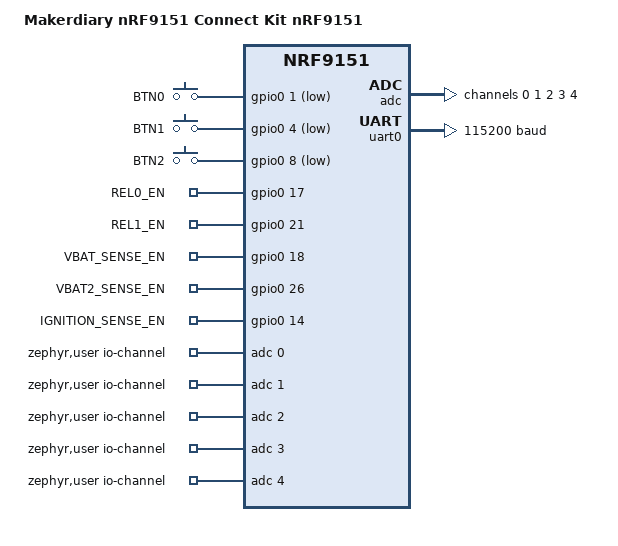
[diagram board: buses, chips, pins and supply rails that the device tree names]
/*
 * Copyright (c) 2016-2025 Makerdiary <https://makerdiary.com>
 *
 * SPDX-License-Identifier: Apache-2.0
 */
#include "nrf9151_connectkit_nrf9151_common-pinctrl.dtsi"
#include <zephyr/dt-bindings/input/input-event-codes.h>
#include <zephyr/dt-bindings/adc/adc.h>
#include <zephyr/dt-bindings/adc/nrf-adc.h>

/ {
	model = "Makerdiary nRF9151 Connect Kit nRF9151";
	compatible = "makerdiary,nrf9151-connectkit-nrf9151";

	chosen {
		zephyr,console = &uart0;
		zephyr,shell-uart = &uart0;
		zephyr,uart-mcumgr = &uart0;
	};

	buttons {
		compatible = "gpio-keys";
		button0: button_0 {
			gpios = <&gpio0 1 (GPIO_PULL_UP | GPIO_ACTIVE_LOW)>;
			label = "BTN0";
			zephyr,code = <INPUT_KEY_0>;
		};
		button1: button_1 {
			gpios = <&gpio0 4 (GPIO_PULL_UP | GPIO_ACTIVE_LOW)>;
			label = "BTN1";
			zephyr,code = <INPUT_KEY_1>;
		};
		button2: button_2 {
			gpios = <&gpio0 8 (GPIO_PULL_UP | GPIO_ACTIVE_LOW)>;
			label = "BTN2";
			zephyr,code = <INPUT_KEY_2>;
		};
	};

	relays {
		compatible = "gpio-leds";
		relay0: relay_0 {
			gpios = <&gpio0 17 GPIO_ACTIVE_HIGH>;
			label = "REL0_EN";
		};
		relay1: relay_1 {
			gpios = <&gpio0 21 GPIO_ACTIVE_HIGH>;
			label = "REL1_EN";
		};
	};

	sense_enables {
		compatible = "gpio-leds";
		vbat_en: vbat_en {
			gpios = <&gpio0 18 GPIO_ACTIVE_HIGH>;
			label = "VBAT_SENSE_EN";
		};
		vbat2_en: vbat2_en {
			gpios = <&gpio0 26 GPIO_ACTIVE_HIGH>;
			label = "VBAT2_SENSE_EN";
		};
		ignition_en: ignition_en {
			gpios = <&gpio0 14 GPIO_ACTIVE_HIGH>;
			label = "IGNITION_SENSE_EN";
		};
	};

	zephyr,user {
		/* ADC channels: 0=REL0_SENSE, 1=REL1_SENSE, 2=VBAT_SENSE, 3=VBAT2_SENSE, 4=IGNITION_SENSE.
		 * IGNITION_SENSE (P0.15/AIN2) doubles as the button4 input, read as an
		 * analog threshold since the signal only reaches ~1 V. */
		io-channels = <&adc 0>, <&adc 1>, <&adc 2>, <&adc 3>, <&adc 4>;
	};

	aliases {
		sw0 = &button0;
		sw1 = &button1;
		sw2 = &button2;
		mcuboot-button0 = &button0;
		watchdog0 = &wdt0;
		relay0 = &relay0;
		relay1 = &relay1;
	};
};

&adc {
	status = "okay";
	#address-cells = <1>;
	#size-cells = <0>;

	/* REL0_SENSE: P0.16 = AIN3 */
	channel@0 {
		reg = <0>;
		zephyr,gain = "ADC_GAIN_1_6";
		zephyr,reference = "ADC_REF_INTERNAL";
		zephyr,acquisition-time = <ADC_ACQ_TIME(ADC_ACQ_TIME_MICROSECONDS, 40)>;
		zephyr,acquisition-time = <ADC_ACQ_TIME_DEFAULT>;
		zephyr,input-positive = <NRF_SAADC_AIN3>;
		zephyr,resolution = <12>;
		zephyr,oversampling = <8>;
	};

	/* REL1_SENSE: P0.20 = AIN7 */
	channel@1 {
		reg = <1>;
		zephyr,gain = "ADC_GAIN_1_6";
		zephyr,reference = "ADC_REF_INTERNAL";
		zephyr,acquisition-time = <ADC_ACQ_TIME(ADC_ACQ_TIME_MICROSECONDS, 40)>;
		zephyr,acquisition-time = <ADC_ACQ_TIME_DEFAULT>;
		zephyr,input-positive = <NRF_SAADC_AIN7>;
		zephyr,resolution = <12>;
		zephyr,oversampling = <8>;
	};

	/* VBAT_SENSE: P0.19 = AIN6 */
	channel@2 {
		reg = <2>;
		zephyr,gain = "ADC_GAIN_1_6";
		zephyr,reference = "ADC_REF_INTERNAL";
		zephyr,acquisition-time = <ADC_ACQ_TIME(ADC_ACQ_TIME_MICROSECONDS, 40)>;
		zephyr,input-positive = <NRF_SAADC_AIN6>;
		zephyr,resolution = <12>;
		zephyr,oversampling = <8>;
	};

	/* VBAT2_SENSE: P0.13 = AIN0 */
	channel@3 {
		reg = <3>;
		zephyr,gain = "ADC_GAIN_1_6";
		zephyr,reference = "ADC_REF_INTERNAL";
		zephyr,acquisition-time = <ADC_ACQ_TIME(ADC_ACQ_TIME_MICROSECONDS, 40)>;
		zephyr,input-positive = <NRF_SAADC_AIN0>;
		zephyr,resolution = <12>;
		zephyr,oversampling = <8>;
	};

	/* IGNITION_SENSE: P0.15 = AIN2 */
	channel@4 {
		reg = <4>;
		zephyr,gain = "ADC_GAIN_1_6";
		zephyr,reference = "ADC_REF_INTERNAL";
		zephyr,acquisition-time = <ADC_ACQ_TIME_DEFAULT>;
		zephyr,input-positive = <NRF_SAADC_AIN2>;
		zephyr,resolution = <12>;
	};
};

&gpiote {
	status = "okay";
};

&gpio0 {
	status = "okay";
};

&uart0 {
	status = "okay";
	current-speed = <115200>;
	pinctrl-0 = <&uart0_default>;
	pinctrl-1 = <&uart0_sleep>;
	pinctrl-names = "default", "sleep";
};

&flash0 {
	partitions {
		compatible = "fixed-partitions";
		#address-cells = <1>;
		#size-cells = <1>;

		boot_partition: partition@0 {
			label = "mcuboot";
			reg = <0x00000000 0x10000>;
		};
		slot0_partition: partition@10000 {
			label = "image-0";
		};
		slot0_ns_partition: partition@50000 {
			label = "image-0-nonsecure";
		};
		slot1_partition: partition@85000 {
			label = "image-1";
		};
		slot1_ns_partition: partition@c5000 {
			label = "image-1-nonsecure";
		};
		storage_partition: partition@fa000 {
			label = "storage";
			reg = <0x000fa000 0x00006000>;
		};
	};
};

/ {

	reserved-memory {
		#address-cells = <1>;
		#size-cells = <1>;
		ranges;

		sram0_s: image_s@20000000 {
			/* Secure image memory */
		};

		sram0_modem: image_modem@20016000 {
			/* Modem (shared) memory */
		};

		sram0_ns: image_ns@20020000 {
			/* Non-Secure image memory */
		};
	};
};

/* Include partition configuration file */
#include "nrf9151_connectkit_nrf9151_partition_conf.dtsi"
